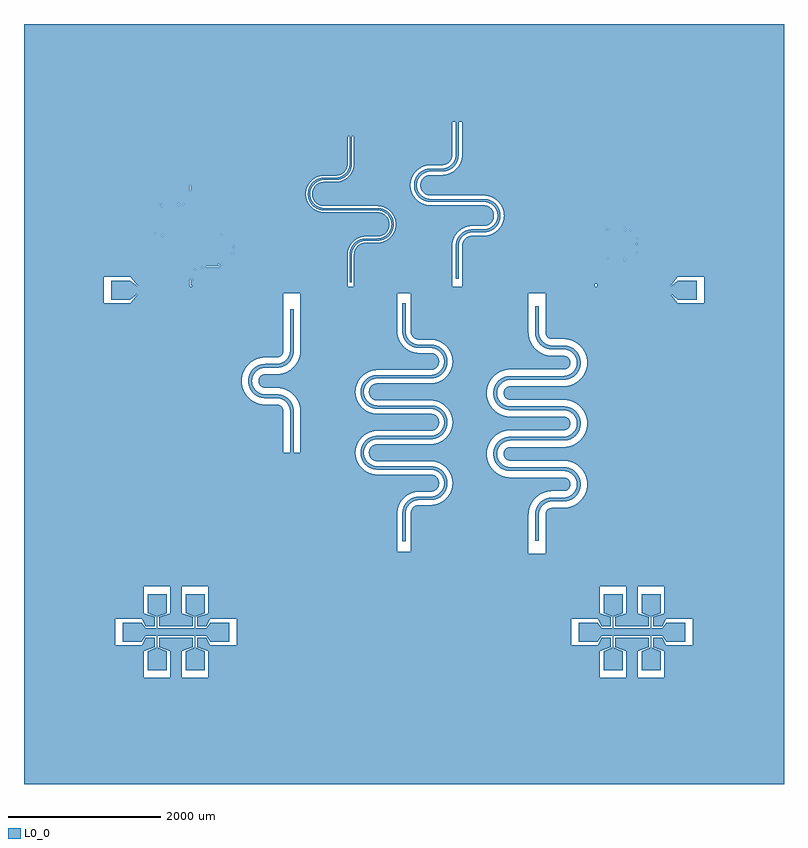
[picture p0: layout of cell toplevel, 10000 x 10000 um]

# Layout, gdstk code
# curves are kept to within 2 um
import gdstk
lib = gdstk.Library(unit=1e-6, precision=1e-09)
def R(c, l, rs):  # rectangles x0, y0, x1, y1
    for r in rs: c.add(gdstk.rectangle(r[:2], r[2:], *l))
def P(c, l, *ps):  # polygons
    for p in ps: c.add(gdstk.Polygon(p, *l))
L0_0 = (0, 0)

toplevel = lib.new_cell('toplevel')
R(toplevel, L0_0, [(-658,1550,634,1940.51), (-714,1605,-686,1940.51), (682,1645,718,1940.51)])
P(toplevel, L0_0, [(-3125,-3250),(-3245,-3200),(-3245,-3050),(-2755,-3050),(-2755,-3200),(-2875,-3250),(-2875,-3500),(-2625,-3500),(-2625,-3250),(-2745,-3200),(-2745,-3050),(-2600,-3050),(-2550,-3125),(-2300,-3125),(-2300,-2875),(-2550,-2875),(-2600,-2950),(-2745,-2950),(-2745,-2800),(-2625,-2750),(-2625,-2500),(-2875,-2500),(-2875,-2750),(-2755,-2800),(-2755,-2950),(-3245,-2950),(-3245,-2800),(-3125,-2750),(-3125,-2500),(-3375,-2500),(-3375,-2750),(-3255,-2800),(-3255,-2950),(-3400,-2950),(-3450,-2875),(-3700,-2875),(-3700,-3125),(-3450,-3125),(-3400,-3050),(-3255,-3050),(-3255,-3200),(-3375,-3250),(-3375,-3500),(-3125,-3500)],
  [(-3500,1460),(3500,1460),(3600,1375),(3850,1375),(3850,1625),(3600,1625),(3500,1540),(-3500,1540),(-3600,1625),(-3850,1625),(-3850,1375),(-3600,1375)],
  [(3255,-2950),(3255,-2800),(3375,-2750),(3375,-2500),(3125,-2500),(3125,-2750),(3245,-2800),(3245,-2950),(2755,-2950),(2755,-2800),(2875,-2750),(2875,-2500),(2625,-2500),(2625,-2750),(2745,-2800),(2745,-2950),(2600,-2950),(2550,-2875),(2300,-2875),(2300,-3125),(2550,-3125),(2600,-3050),(2745,-3050),(2745,-3200),(2625,-3250),(2625,-3500),(2875,-3500),(2875,-3250),(2755,-3200),(2755,-3050),(3245,-3050),(3245,-3200),(3125,-3250),(3125,-3500),(3375,-3500),(3375,-3250),(3255,-3200),(3255,-3050),(3400,-3050),(3450,-3125),(3700,-3125),(3700,-2875),(3450,-2875),(3400,-2950)],
  [(5000,-528.459),(2252.108,-528.459),(2219.713,-544.171),(2186.232,-555.898),(2151.637,-563.749),(2116.374,-567.621),(1399.23,-568.055),(1363.412,-576.018),(1341.557,-590.261),(1324.838,-610.285),(1314.917,-633.585),(1312.069,-659.515),(1316.948,-685.141),(1328.672,-707.588),(1346.915,-726.234),(1369.822,-738.713),(1399.23,-744.046),(2105.46,-744.097),(2162.374,-750.348),(2201.85,-761.142),(2237.127,-775.799),(2270.347,-794.657),(2303.095,-819.202),(2332.348,-847.823),(2357.604,-880.025),(2377.185,-912.826),(2393.547,-950.338),(2405.973,-995.015),(2411.64,-1041.04),(2410.422,-1087.396),(2402.348,-1133.06),(2387.594,-1177.023),(2366.487,-1218.313),(2339.494,-1256.019),(2307.209,-1289.308),(2279.391,-1311.322),(2249.254,-1330.036),(2186.232,-1355.898),(2151.637,-1363.749),(2116.374,-1367.621),(1933.875,-1369.542),(1915.434,-1375.124),(1898.026,-1385.04),(1883.311,-1398.636),(1872.053,-1415.208),(1864.835,-1433.897),(1862.015,-1454.506),(1862,-1972.101),(1638,-1972.101),(1638.107,-1447.838),(1642.792,-1401.572),(1653.439,-1359.116),(1678.891,-1301.633),(1717.164,-1248.368),(1763.523,-1205.908),(1819.937,-1172.451),(1863.533,-1156.27),(1909.049,-1146.748),(1944.524,-1144.097),(2106.156,-1143.834),(2127.997,-1139.477),(2148.046,-1129.776),(2171.328,-1107.588),(2185.083,-1078.516),(2187.473,-1046.444),(2178.179,-1015.654),(2166.045,-997.896),(2149.329,-983.177),(2129.453,-973.127),(2107.691,-968.388),(1389.081,-967.86),(1326.966,-959.383),(1270.277,-939.805),(1218.382,-909.742),(1173.197,-870.306),(1136.393,-822.952),(1108.348,-766.884),(1092.53,-709.033),(1088.145,-646.496),(1095.735,-587.004),(1115.283,-528.459),(-353.885,-530.119),(-378.807,-533.854),(-402.244,-543.115),(-422.989,-557.424),(-439.971,-576.043),(-452.689,-598.91),(-459.548,-623.159),(-460.692,-649.299),(-455.686,-674.981),(-444.807,-698.778),(-428.66,-719.367),(-408.142,-735.604),(-385.315,-746.282),(-351.943,-752.033),(352.529,-752.061),(402.811,-756.916),(439.547,-766.272),(472.455,-779.275),(505.665,-797.555),(534.255,-818.404),(561.812,-844.436),(584.252,-871.794),(604.39,-903.911),(619.243,-936.027),(632.384,-979.563),(638.379,-1022.096),(637.782,-1067.568),(630.673,-1109.929),(617.364,-1150.77),(596.842,-1191.351),(570.209,-1228.212),(540.036,-1258.784),(512.003,-1280.376),(479.285,-1299.521),(444.342,-1314.219),(407.776,-1324.217),(362.641,-1329.775),(197.078,-1330.09),(168.303,-1334.673),(147.622,-1343.187),(129.066,-1355.673),(113.391,-1371.626),(101.68,-1389.533),(92.576,-1413.107),(89.039,-1438.129),(89,-1942.101),(-89,-1942.101),(-88.901,-1433.443),(-83.632,-1385.602),(-70.496,-1339.299),(-44.608,-1287.139),(-8.788,-1241.228),(35.508,-1203.429),(86.482,-1175.278),(129.702,-1160.73),(174.672,-1153.162),(364.528,-1151.095),(388.976,-1144.981),(411.415,-1133.511),(439.971,-1106.058),(457.069,-1070.326),(460.531,-1030.866),(449.489,-991.83),(433.945,-968.428),(413.024,-949.679),(388.065,-936.782),(360.668,-930.565),(-357.586,-929.952),(-412.723,-923.163),(-465.541,-905.95),(-514.091,-878.949),(-556.578,-843.157),(-592.812,-797.779),(-618.313,-748.426),(-633.901,-695.104),(-638.976,-637.257),(-632.911,-582.036),(-616.165,-528.459),(-1363.001,-528.459),(-1363.001,-644.367),(-1451.001,-644.367),(-1451.001,-528.459),(-1499.001,-528.459),(-1499.001,-644.367),(-1587.001,-644.367),(-1587.001,-528.459),(-5000,-528.459),(-5000,-3175),(-3800,-3175),(-3800,-2825),(-3450,-2825),(-3400,-2925),(-3280,-2925),(-3280,-2800),(-3425,-2750),(-3425,-2400),(-3075,-2400),(-3075,-2750),(-3220,-2800),(-3220,-2925),(-2780,-2925),(-2780,-2800),(-2925,-2750),(-2925,-2400),(-2575,-2400),(-2575,-2750),(-2720,-2800),(-2720,-2925),(-2600,-2925),(-2550,-2825),(-2200,-2825),(-2200,-3175),(2200,-3175),(2200,-2825),(2550,-2825),(2600,-2925),(2720,-2925),(2720,-2800),(2575,-2750),(2575,-2400),(2925,-2400),(2925,-2750),(2780,-2800),(2780,-2925),(3220,-2925),(3220,-2800),(3075,-2750),(3075,-2400),(3425,-2400),(3425,-2750),(3280,-2800),(3280,-2925),(3400,-2925),(3450,-2825),(3800,-2825),(3800,-3175),(3450,-3175),(3400,-3075),(3280,-3075),(3280,-3200),(3425,-3250),(3425,-3600),(3075,-3600),(3075,-3250),(3220,-3200),(3220,-3075),(2780,-3075),(2780,-3200),(2925,-3250),(2925,-3600),(2575,-3600),(2575,-3250),(2720,-3200),(2720,-3075),(2600,-3075),(2550,-3175),(-2550,-3175),(-2600,-3075),(-2720,-3075),(-2720,-3200),(-2575,-3250),(-2575,-3600),(-2925,-3600),(-2925,-3250),(-2780,-3200),(-2780,-3075),(-3220,-3075),(-3220,-3200),(-3075,-3250),(-3075,-3600),(-3425,-3600),(-3425,-3250),(-3280,-3200),(-3280,-3075),(-3400,-3075),(-3450,-3175),(-5000,-3175),(-5000,-5000),(5000,-5000)],
  [(-1587.001,-97.929),(-1591.12,-71.078),(-1603.537,-46.335),(-1623.027,-26.673),(-1647.661,-14.039),(-1672.684,-9.715),(-1863.13,-7.346),(-1919.075,4.836),(-1971.851,27.036),(-2017.542,56.812),(-2057.349,94.089),(-2090.058,137.728),(-2114.435,185.82),(-5000,185.82),(-5000,-528.459),(-1587.001,-528.459)],
  [(-1451.001,-97.631),(-1452.938,-68.283),(-1459.238,-37.496),(-1469.784,-7.893),(-1484.37,19.942),(-1501.457,43.945),(-1522.985,66.838),(-1547.506,86.493),(-1574.535,102.523),(-1612.922,117.543),(-1653.412,125.274),(-1828.081,126.344),(-1857.163,129.28),(-1885.357,136.989),(-1911.887,149.259),(-1936.02,165.749),(-1956.926,185.82),(-2016.325,185.82),(-1994.406,155.762),(-1967.814,129.746),(-1937.284,108.49),(-1903.657,92.58),(-1871.701,83.238),(-1840.67,78.865),(-1670.368,78.255),(-1635.192,73.755),(-1604.452,63.558),(-1577.381,48.762),(-1553.31,29.467),(-1532.071,5.016),(-1509.208,-38.618),(-1499.333,-86.879),(-1499.001,-528.459),(-1451.001,-528.459)],
  [(-615.402,-526.669),(-599.435,-495.092),(-579.728,-465.704),(-556.578,-438.943),(-530.33,-415.213),(-501.38,-394.868),(-467.855,-377.172),(-434.724,-364.747),(-400.323,-356.465),(-352.529,-352.061),(351.943,-352.033),(388.065,-345.318),(413.821,-331.867),(435.823,-311.444),(451.151,-286.759),(459.7,-257.983),(460.336,-228.933),(453.053,-199.81),(438.234,-173.703),(417.732,-153.112),(388.065,-136.782),(354.855,-130.157),(-355.058,-130.007),(-397.83,-126.066),(-439.547,-115.828),(-483.788,-97.219),(-526.35,-70.009),(-561.812,-37.665),(-591.431,0.102),(-614.391,42.25),(-630.673,90.07),(-638.202,137.473),(-637.748,185.82),(-1544.733,185.82),(-1513.501,169.267),(-1484.163,149.148),(-1435.019,101.699),(-1413.883,73.086),(-1396.141,42.252),(-1372.371,-21.79),(-1365.699,-56.733),(-1363.048,-92.208),(-1363.001,-528.459)],
  [(1115.68,-527.57),(1133.513,-493.788),(1155.34,-462.437),(1178.9,-435.915),(1207.459,-410.545),(1238.905,-388.856),(1272.765,-371.171),(1308.533,-357.758),(1342.986,-349.303),(1397.27,-344.061),(2100.77,-344.046),(2128.726,-339.228),(2151.849,-327.152),(2170.415,-308.828),(2182.794,-285.866),(2187.897,-260.284),(2185.276,-234.33),(2175.162,-210.285),(2158.443,-190.261),(2136.588,-176.018),(2100.77,-168.055),(1391.81,-167.944),(1342.986,-162.798),(1298.15,-150.959),(1250.746,-130.036),(1205.318,-99.861),(1167.651,-64.278),(1134.943,-20.639),(1111.358,25.498),(1095.142,77.568),(1088.241,131.666),(1090.822,185.82),(-457.696,185.82),(-460.871,164.29),(-459.7,142.017),(-454.101,120.428),(-444.298,100.395),(-430.688,82.725),(-413.821,68.133),(-394.377,57.207),(-373.141,50.389),(-350.971,47.955),(372.738,47.055),(417.65,39.921),(460.888,25.83),(501.38,5.132),(538.123,-21.662),(568.563,-51.969),(592.812,-84.321),(613.36,-122.042),(627.391,-159.96),(636.346,-201.97),(638.976,-244.844),(635.619,-285.136),(625.93,-326.983),(611.237,-364.65),(590.032,-402.005),(563.524,-435.804),(532.3,-465.301),(499.22,-488.548),(460.888,-507.931),(422.557,-520.795),(380.293,-528.459)],
  [(5000,185.82),(1322.601,185.82),(1314.537,164.923),(1312.009,142.794),(1318.017,111.971),(1333.955,85.795),(1357.903,66.673),(1386.957,56.923),(2121.825,55.186),(2165.047,49.095),(2206.996,37.031),(2244.436,20.505),(2281.618,-2.359),(2311.26,-26.455),(2339.494,-56.082),(2362.136,-86.848),(2380.849,-120.151),(2395.352,-155.492),(2405.973,-195.015),(2411.329,-235.588),(2411.496,-273.788),(2406.994,-311.722),(2397.89,-348.822),(2384.32,-384.53),(2365.057,-420.639),(2341.234,-453.916),(2315.245,-481.913),(2286.03,-506.525),(2252.108,-528.459),(5000,-528.459)],
  [(-2114.668,186.396),(-2129.266,233.27),(-2136.139,279.13),(-2136.139,325.503),(-2129.266,371.363),(-2115.671,415.698),(-2095.656,457.528),(-2069.661,495.93),(-2036.261,531.912),(-2008.832,554.409),(-1979.027,573.648),(-1944.714,590.437),(-1911.233,602.164),(-1876.638,610.015),(-1841.375,613.888),(-1660.397,615.538),(-1626.192,629.094),(-1600.52,655.452),(-5000,655.452),(-5000,185.82)],
  [(-1957.092,186.007),(-1976.905,213.429),(-1991.106,244.136),(-1999.169,276.992),(-2000.797,310.784),(-1995.929,344.264),(-1984.745,376.193),(-1967.659,405.392),(-1945.301,430.783),(-1905.109,459.028),(-1857.163,475.353),(-1828.081,478.289),(-1655.369,479.178),(-1616.709,486.034),(-1581.623,498.707),(-1537.989,525.105),(-1500.221,562.216),(-1473.062,605.379),(-1455.958,655.452),(-1505.357,655.452),(-1521.31,616.555),(-1545.734,582.876),(-1577.381,555.871),(-1614.483,537.048),(-1664.196,526.649),(-1830.881,526.24),(-1867.86,522.178),(-1898.124,514.045),(-1926.957,501.768),(-1953.794,485.588),(-1978.111,465.82),(-2011.046,427.07),(-2033.687,383.718),(-2046.38,336.486),(-2048.382,285.67),(-2038.279,233.843),(-2016.325,185.82)],
  [(-637.539,187.984),(-630.059,230.282),(-615.402,273.331),(-595.518,311.405),(-568.563,348.031),(-538.123,378.338),(-501.38,405.132),(-463.219,424.85),(-422.557,438.694),(-387.827,445.464),(-352.529,447.939),(352.914,447.989),(375.038,450.811),(395.266,457.6),(421.514,474.058),(441.647,496.326),(455.076,523.174),(460.871,553.609),(458.028,584.46),(447.241,612.475),(429.342,636.575),(404.846,655.452),(-1366.542,655.452),(-1383.952,589.909),(-1413.883,531.548),(-1455.353,480.733),(-1508.841,438.242),(-1567.719,409.34),(-1628.628,393.781),(-1669.525,390.363),(-1828.081,390.261),(-1851.534,386.22),(-1874.966,374.755),(-1893.526,357.526),(-1906.701,335.012),(-1912.629,310.391),(-1910.464,281.343),(-1898.936,254.594),(-1878.698,232.6),(-1852.998,218.89),(-1828.081,214.371),(-1642.206,212.589),(-1591.168,202.844),(-1544.733,185.82),(-637.748,185.82)],
  [(1090.865,186.14),(1099.046,226.239),(1112.406,264.922),(1130.714,301.524),(1155.34,337.563),(1182.786,367.92),(1213.97,394.424),(1248.354,416.618),(1285.348,434.121),(1337.626,449.652),(1391.81,455.843),(2116.837,457.576),(2139.366,465.247),(2159.016,478.674),(2174.349,496.875),(2184.245,518.52),(2187.958,541.255),(2185.463,564.923),(2176.718,587.057),(2162.361,606.038),(2140.054,622.305),(2113.043,630.976),(1922.656,633.149),(1876.765,640.665),(1831.207,655.452),(622.41,655.452),(635.619,603.035),(638.865,550.099),(632.384,497.462),(615.402,444.568),(590.032,397.995),(554.801,355.043),(512.003,319.624),(465.541,294.05),(412.723,276.837),(357.586,270.048),(-362.6,269.231),(-395.266,260.3),(-422.989,242.576),(-444.807,216.677),(-457.696,185.82)],
  [(5000,655.452),(2391.394,655.452),(2406.994,599.621),(2411.974,539.854),(2405.427,480.239),(2387.594,422.977),(2359.135,370.186),(2321.243,323.959),(2277.15,287.118),(2224.737,257.968),(2170.377,239.989),(2110.919,232.14),(1393.076,231.676),(1371.273,227.128),(1351.954,217.675),(1334.983,203.251),(1322.601,185.82),(5000,185.82)],
  [(-3600,1675),(-3500,1550),(-2817,1550),(-2815.99,1639.44),(-2803.768,1693.141),(-2791.321,1720.923),(-2773.977,1748.222),(-2752.768,1772.639),(-2728.165,1793.633),(-2683.482,1818.825),(-2632.252,1833.115),(-2440.396,1835.778),(-2391.777,1845.034),(-2358.269,1860.176),(-2328.464,1881.711),(-2303.566,1908.77),(-2284.464,1940.51),(-5000,1940.51),(-5000,655.452),(-1600.52,655.452),(-1596.349,662.848),(-1589.461,681.661),(-1587.005,701.544),(-1587.001,1450),(-3500,1450),(-3600,1325),(-3950,1325),(-3950,1675)],
  [(-2791,1618.505),(-2784.848,1666.609),(-2765.967,1713.056),(-2736.823,1751.793),(-2698.867,1781.946),(-2662.518,1799.004),(-2623.406,1808.085),(-2439.031,1809.813),(-2410.011,1813.386),(-2380.048,1821.579),(-2340.525,1840.491),(-2305.814,1867.226),(-2277.439,1900.611),(-2256.108,1940.51),(-2275.662,1940.51),(-2296.168,1905.314),(-2323.151,1875.73),(-2355.709,1852.422),(-2392.41,1836.414),(-2441.646,1827.708),(-2625.612,1825.95),(-2668.41,1816.012),(-2708.184,1797.347),(-2733.56,1779.282),(-2755.97,1757.645),(-2774.915,1732.918),(-2789.974,1705.65),(-2803.991,1664.01),(-2808.992,1620.359),(-2809,1560),(-2791,1560)],
  [(-742,1940.51),(-2247.511,1940.51),(-2268.718,1899.252),(-2297.568,1864.079),(-2333.117,1835.694),(-2373.802,1815.343),(-2404.759,1806.293),(-2436.716,1801.932),(-2627.199,1799.492),(-2670.402,1787.441),(-2708.084,1766.197),(-2728.831,1748.492),(-2747.207,1727.238),(-2762.096,1703.46),(-2772.919,1678.425),(-2782.429,1632.963),(-2783,1550),(-742,1550)],
  [(2508.001,1702.721),(2510.136,1733.052),(2515.981,1760.99),(2525.442,1787.92),(2539.334,1815.008),(2555.683,1838.406),(2576.343,1860.765),(2599.929,1880.014),(2624.286,1894.896),(2659.395,1909.529),(2696.519,1917.806),(2890.995,1920.384),(2927.116,1927.261),(2959.786,1940.51),(766,1940.51),(766,1550),(2508.001,1550)],
  [(2534.001,1702.664),(2535.881,1729.413),(2541.482,1755.617),(2550.017,1779.246),(2562.454,1802.98),(2577.024,1823.447),(2595.381,1842.967),(2616.288,1859.727),(2639.336,1873.395),(2672.068,1886.202),(2708.261,1892.948),(2878.659,1893.715),(2913.193,1897.203),(2961.898,1912.605),(3006.837,1940.51),(2975.897,1940.51),(2938.929,1922.7),(2900,1913.327),(2706.684,1910.879),(2668.844,1903.998),(2631.263,1889.483),(2595.718,1866.9),(2566.613,1839.045),(2542.493,1804.525),(2525.782,1765.871),(2516.29,1713.683),(2516.001,1580),(2534.001,1580)],
  [(5000,1940.51),(3019.183,1940.51),(2970.374,1907.765),(2914.655,1889.337),(2878.799,1885.717),(2715.37,1885.43),(2668.146,1876.627),(2631.653,1860.085),(2599.635,1835.997),(2573.627,1805.518),(2554.29,1768.614),(2546.045,1740.941),(2542.255,1712.314),(2542.001,1550),(3500,1550),(3600,1675),(3950,1675),(3950,1325),(3600,1325),(3500,1450),(1862,1450),(1862.004,943.177),(1866.356,916.61),(1875.933,896.433),(1890.28,879.317),(1908.475,866.364),(1928.595,858.594),(1947.684,855.981),(2135.418,853.934),(2188.853,843.031),(2239.574,822.99),(2288.215,792.786),(2330.517,754.203),(2365.057,708.538),(2391.394,655.452),(5000,655.452)],
  [(1829.97,655.961),(1797.968,671.496),(1765.725,692.181),(1736.261,716.661),(1711.777,742.468),(1688.882,773.18),(1671.14,804.014),(1657.023,836.667),(1646.716,870.715),(1638.047,938.474),(1638,1450),(89,1450),(89.616,947.282),(96.108,919.869),(109.857,894.18),(129.066,873.572),(153.728,858.055),(194.158,848.104),(380.293,846.358),(422.557,838.694),(465.541,823.849),(518.23,793.94),(561.812,755.564),(596.842,709.251),(622.41,655.452)],
  [(404.797,655.48),(383.468,664.783),(360.668,669.435),(182.258,670.494),(144.552,675.318),(107.804,685.049),(61.395,705.355),(19.245,733.452),(-17.352,768.477),(-45.949,807.191),(-61.625,836.174),(-74.699,869.161),(-83.632,903.501),(-88.289,938.677),(-89,1450),(-1363.001,1450),(-1363.012,699.579),(-1366.542,655.452)],
  [(-1455.95,655.488),(-1451.009,700.351),(-1451.001,1250),(-1499.001,1250),(-1499.008,700.772),(-1505.357,655.452)],
  [(-2283.902,1941.711),(-2270.536,1982.726),(-2267.212,2027.33),(-2274.352,2069.873),(-2291.251,2109.562),(-2316.972,2144.194),(-2350.085,2171.842),(-2388.75,2190.97),(-2430.818,2200.517),(-3157.594,2201.658),(-3208.148,2209.461),(-3256.566,2229.496),(-5000,2229.496),(-5000,1940.51)],
  [(-2255.961,1940.873),(-2244.035,1983.033),(-2241.162,2026.753),(-2247.466,2070.112),(-2261.868,2109.56),(-2284.981,2146.782),(-2315.346,2178.367),(-2351.629,2202.928),(-2390.48,2218.871),(-2419.022,2225.217),(-2448.171,2227.517),(-3149.98,2227.525),(-3239.154,2229.496),(-3198.923,2215.332),(-3157.314,2209.653),(-2448.329,2209.518),(-2421.69,2207.416),(-2395.606,2201.616),(-2360.102,2187.046),(-2329.519,2166.732),(-2302.322,2139.654),(-2281.874,2109.16),(-2265.763,2068.901),(-2259.148,2026.045),(-2262.371,1982.801),(-2275.662,1940.51)],
  [(-742,1963.617),(-739.907,1995.288),(-733.663,2026.501),(-723.375,2056.625),(-709.224,2085.138),(-690.146,2113.221),(-668.853,2136.883),(-644.639,2157.545),(-617.922,2174.851),(-579.211,2192.195),(-538.067,2202.513),(-504.247,2205.488),(-334.814,2206.257),(-299.731,2213.736),(-266.335,2229.496),(-2399.204,2229.496),(-2356.336,2214.27),(-2316.086,2189.277),(-2283.43,2157.606),(-2258.094,2119.823),(-2240.683,2075.758),(-2233.351,2030.862),(-2235.539,1985.423),(-2247.511,1940.51),(-742,1940.51)],
  [(-686,1963.494),(-679.16,2013.502),(-659.143,2059.804),(-627.421,2099.024),(-586.327,2128.278),(-553.114,2141.78),(-517.927,2148.659),(-342.511,2149.656),(-298.087,2155.917),(-264.443,2167.372),(-234.733,2183.221),(-206.482,2204.785),(-183.171,2229.496),(-221.037,2229.496),(-241.728,2212.286),(-265.34,2197.909),(-316.011,2180.657),(-346.745,2177.554),(-520.625,2176.529),(-561.109,2168.615),(-599.323,2153.08),(-627.904,2135.097),(-654.604,2111.49),(-677.016,2083.78),(-694.519,2052.735),(-710.713,2000.891),(-714,1940.51),(-686,1940.51)],
  [(634,2078.67),(636.954,2118.061),(645.775,2156.793),(660.197,2193.638),(680.995,2229.496),(-148.507,2229.496),(-174.083,2197.34),(-205.708,2169.247),(-241.741,2147.09),(-281.082,2131.546),(-339.415,2121.756),(-516.607,2120.65),(-549.088,2113.706),(-578.198,2100.817),(-615.101,2071.764),(-641.217,2034.389),(-655.572,1991.113),(-658,1940.51),(634,1940.51)],
  [(718,2078.486),(723.467,2122.796),(739.538,2164.407),(765.248,2200.86),(798.358,2229.496),(742.738,2229.496),(710.572,2186.419),(690.017,2137.101),(682.21,2088.087),(682,1940.51),(718,1940.51)],
  [(2961.134,1941.221),(2995.335,1964.811),(3023.333,1995.508),(3044.3,2033.208),(3055.608,2073.186),(3057.607,2114.686),(3049.724,2157.097),(3032.947,2195.106),(3006.938,2229.496),(1143.492,2229.496),(1110.001,2219.38),(1073.248,2213.542),(894.122,2212.396),(852.822,2203.945),(819.911,2185.957),(792.568,2158.614),(774.171,2124.601),(766.331,2087.925),(766,1940.51)],
  [(3008.251,1941.669),(3036.596,1970.139),(3058.971,2003.507),(3074.548,2040.539),(3082.752,2079.867),(3083.279,2120.038),(3076.111,2159.569),(3061.511,2196.997),(3041.132,2229.496),(3017.825,2229.496),(3041.515,2196.247),(3057.362,2159.476),(3065.195,2120.209),(3064.67,2080.172),(3055.263,2039.544),(3036.375,2000.51),(3009.169,1966.743),(2975.897,1940.51)],
  [(5000,2229.496),(3051.089,2229.496),(3071.154,2195.49),(3084.81,2158.083),(3091.401,2118.81),(3090.704,2078.994),(3082.743,2039.976),(3067.786,2003.069),(3046.337,1969.518),(3019.183,1940.51),(5000,1940.51)],
  [(-3257.127,2229.811),(-3285.403,2248.952),(-3311.601,2273.7),(-3333.341,2302.443),(-3350.025,2334.388),(-3361.191,2368.653),(-3366.533,2404.293),(-3365.902,2440.326),(-3359.519,2475.003),(-5000,2475.003),(-5000,2229.496)],
  [(-3178.31,2229.635),(-3215.5,2239.108),(-3250.046,2255.824),(-3280.553,2279.109),(-3305.789,2308.023),(-3326.7,2346.012),(-3338.502,2387.739),(-3340.589,2431.052),(-3332.458,2475.003),(-3351.223,2475.003),(-3358.758,2428.581),(-3355.964,2383.033),(-3342.651,2337.49),(-3320.471,2297.609),(-3304.417,2277.683),(-3284.654,2258.683),(-3264.111,2243.426),(-3240.211,2229.996)],
  [(-266.065,2229.664),(-238.033,2252.047),(-215.773,2280.176),(-200.883,2311.295),(-192.945,2346.277),(-192.945,2380.774),(-200.883,2415.756),(-215.773,2446.874),(-238.033,2475.003),(-3324.065,2475.003),(-3332.606,2430.527),(-3331.529,2395.367),(-3323.234,2359.544),(-3308.749,2327.488),(-3287.344,2297.589),(-3260.395,2272.573),(-3230.43,2254.148),(-3197.493,2241.796),(-3161.203,2235.869),(-2448.101,2235.517),(-2399.204,2229.496)],
  [(-182.189,2230.727),(-159.88,2265.288),(-145.13,2301.684),(-137.279,2340.163),(-136.592,2379.428),(-146.244,2428.942),(-167.33,2475.003),(-201.109,2475.003),(-183.287,2446.004),(-171.022,2414.15),(-164.941,2382.212),(-164.642,2348.08),(-170.586,2314.468),(-181.869,2283.977),(-199.236,2254.593),(-221.037,2229.496)],
  [(681.29,2229.926),(709.45,2264.124),(742.894,2293.174),(782.787,2317.309),(824.042,2333.45),(886.001,2344.157),(1061.711,2345.039),(1085.907,2349.426),(1108.894,2358.162),(1138.993,2378.345),(1162.583,2405.856),(1177.939,2438.682),(1183.952,2475.003),(-135.207,2475.003),(-122.314,2445.52),(-113.54,2415.013),(-108.835,2383.62),(-108.391,2349.767),(-112.27,2318.262),(-120.24,2287.536),(-132.162,2258.116),(-148.507,2229.496)],
  [(799.052,2229.963),(834.429,2248.303),(871.371,2258.259),(1070.952,2261.534),(1112.083,2269.552),(1150.92,2285.291),(1197.611,2318.103),(1235.2,2363.524),(1248.659,2388.754),(1259.243,2417.357),(1267.97,2475.003),(1231.964,2475.003),(1224.689,2427.458),(1204.616,2382.516),(1174.402,2345.679),(1134.254,2317.202),(1101.831,2304.062),(1067.492,2297.368),(892.349,2296.391),(845.119,2289.504),(816.133,2279.748),(790.448,2266.999),(765.15,2249.813),(742.738,2229.496)],
  [(3006.924,2229.511),(2986.669,2247.664),(2962.544,2263.386),(2937.758,2274.586),(2911.586,2281.989),(2879.805,2285.62),(2705.983,2286.518),(2666.694,2293.663),(2629.38,2307.887),(2584.869,2336.997),(2548.775,2376.06),(2523.267,2422.73),(2509.776,2475.003),(1315.977,2475.003),(1312.137,2433.354),(1302.547,2394.999),(1287.377,2358.49),(1266.964,2324.632),(1241.758,2294.174),(1212.315,2267.788),(1179.287,2246.058),(1143.492,2229.496)],
  [(3040.02,2230.94),(3016.517,2256.482),(2989.112,2277.783),(2958.558,2294.254),(2925.701,2305.441),(2882.315,2311.555),(2708.261,2312.418),(2675.297,2318.264),(2643.859,2329.776),(2609.505,2350.56),(2580.254,2378.066),(2564.239,2399.549),(2551.388,2423.062),(2541.954,2448.142),(2536.019,2475.003),(2517.843,2475.003),(2531.388,2423.975),(2556.349,2379.244),(2591.44,2341.927),(2636.212,2313.481),(2670.613,2300.884),(2706.684,2294.488),(2880.015,2293.618),(2913.185,2289.828),(2942.069,2281.521),(2970.742,2267.955),(2995.482,2250.89),(3017.825,2229.496)],
  [(5000,2475.003),(2544.108,2475.003),(2556.085,2432.282),(2578.284,2393.308),(2608.056,2361.926),(2645.807,2337.707),(2675.83,2326.413),(2708.963,2320.388),(2882.595,2319.551),(2931.318,2312.248),(2965.225,2300.038),(2998.211,2281.313),(3027.433,2257.129),(3051.089,2229.496),(5000,2229.496)],
  [(-3359.317,2475.758),(-3342.785,2518.139),(-3317.781,2556.143),(-3286.882,2586.907),(-3248.77,2611.744),(-3211.798,2626.54),(-3172.746,2634.33),(-2991.973,2635.702),(-2943.145,2644.581),(-2906.652,2661.124),(-2875.809,2684.117),(-2850.454,2713.05),(-2831.296,2747.622),(-5000,2747.622),(-5000,2475.003)],
  [(-3332.361,2475.318),(-3317.326,2510.628),(-3295.536,2542.22),(-3267.869,2568.818),(-3236.935,2588.593),(-3204.394,2601.616),(-3170.02,2608.473),(-2987.17,2609.919),(-2956.307,2614.143),(-2928.135,2622.269),(-2887.146,2642.613),(-2851.568,2671.39),(-2823.104,2707.22),(-2803.396,2747.622),(-2822.65,2747.622),(-2846.869,2704.368),(-2880.539,2669.494),(-2908.397,2650.925),(-2940.659,2636.977),(-2966.65,2630.459),(-2991.622,2627.709),(-3171.907,2626.374),(-3209.52,2618.871),(-3245.128,2604.621),(-3288.803,2574.777),(-3323.586,2534.924),(-3339.697,2506.253),(-3351.223,2475.003)],
  [(-239.013,2475.979),(-261.431,2494.367),(-285.567,2507.79),(-313.015,2517.135),(-340.327,2521.228),(-1052.118,2521.534),(-1110.757,2529.276),(-1144.806,2540.868),(-1178.56,2558.497),(-1209.13,2581.202),(-1235.761,2608.421),(-1257.792,2639.481),(-1274.677,2673.612),(-1286,2709.97),(-1291.477,2747.622),(-2794.911,2747.622),(-2811.441,2711.126),(-2835.55,2676.944),(-2865.769,2648.023),(-2900.975,2625.437),(-2936.211,2611.112),(-2975.298,2602.936),(-3159.604,2601.273),(-3211.25,2590.97),(-3248.569,2572.71),(-3280.808,2546.502),(-3306.304,2513.698),(-3324.065,2475.003)],
  [(-168.198,2476.416),(-198.348,2514.515),(-236.315,2544.831),(-278.374,2565.183),(-325.707,2576.142),(-1051.628,2577.532),(-1095.12,2583.081),(-1140.404,2600.973),(-1180.656,2631.143),(-1201.711,2655.916),(-1218.131,2683.977),(-1229.414,2714.468),(-1235.317,2747.622),(-1263.408,2747.622),(-1258.272,2714.342),(-1247.978,2682.28),(-1232.782,2652.23),(-1213.061,2624.935),(-1189.302,2601.072),(-1162.094,2581.232),(-1133.837,2566.631),(-1101.913,2555.917),(-1051.873,2549.533),(-333.744,2548.813),(-295.472,2541.353),(-259.596,2526.077),(-227.693,2503.658),(-201.109,2475.003)],
  [(1183.967,2475.594),(1177.222,2520.602),(1156.517,2559.827),(1124.141,2590.145),(1083.642,2608.233),(1051.173,2612.519),(349.856,2612.525),(312.877,2615.128),(254.42,2630.29),(200.89,2658.247),(155.045,2697.558),(118.441,2747.622),(-1207.197,2747.622),(-1195.098,2700.992),(-1169.49,2660.152),(-1132.761,2628.935),(-1088.328,2610.245),(-1051.383,2605.532),(-349.908,2605.525),(-316.227,2603.157),(-261.071,2588.594),(-210.857,2561.524),(-168.375,2523.452),(-135.207,2475.003)],
  [(1267.981,2475.664),(1265.449,2511.78),(1256.974,2546.979),(1241.892,2581.973),(1222.125,2612.305),(1197.611,2638.947),(1169.025,2661.165),(1137.156,2678.345),(1102.883,2690.014),(1051.908,2696.517),(338.858,2696.867),(307.397,2701.582),(277.237,2711.704),(249.3,2726.922),(223.557,2747.622),(175.678,2747.622),(206.651,2714.284),(244.043,2688.007),(286.091,2670.103),(329.048,2661.534),(1051.593,2660.518),(1094.15,2655.089),(1141.23,2636.009),(1181.202,2604.66),(1203.77,2575.884),(1219.557,2544.664),(1229.079,2511),(1231.964,2475.003)],
  [(5000,2747.622),(321.367,2747.622),(350.144,2744.525),(1054.655,2744.485),(1087.123,2741.923),(1121.279,2734.798),(1162.71,2719.467),(1199.11,2698.804),(1233.51,2671.088),(1262.849,2638.06),(1286.318,2600.633),(1302.547,2562.051),(1312.888,2519.102),(1315.977,2475.003),(2509.776,2475.003),(2508.001,2624.367),(2516.001,2624.367),(2517.843,2475.003),(2536.019,2475.003),(2534.001,2624.367),(2542.001,2624.367),(2544.108,2475.003),(5000,2475.003)],
  [(5000,5000),(-5000,5000),(-5000,2747.622),(-2831.296,2747.622),(-2818.19,2797.694),(-2817,2876.05),(-2809,2876.05),(-2809.184,2810.147),(-2813.22,2778.595),(-2822.65,2747.622),(-2803.396,2747.622),(-2797.277,2767.687),(-2791.394,2805.695),(-2791,2876.05),(-2783,2876.05),(-2783.075,2812.813),(-2786.333,2780.635),(-2794.911,2747.622),(-1291.477,2747.622),(-1291.479,2779.397),(-1287.325,2810.867),(-1278.395,2843.524),(-1265.959,2872.73),(-1248.606,2901.8),(-1228.798,2926.606),(-1204.29,2949.963),(-1178.56,2968.553),(-1132.99,2990.851),(-1081.675,3003.444),(-895.841,3005.58),(-861.567,3010.271),(-835.398,3019.336),(-810.07,3033.615),(-788.769,3051.314),(-770.884,3072.459),(-750.704,3111.809),(-742.298,3153.826),(-742,3521.05),(-714,3521.05),(-714.007,3161.893),(-716.316,3134.267),(-722.704,3107.291),(-746.145,3059.005),(-766.758,3033.746),(-792.795,3011.528),(-820.982,2995.144),(-851.597,2983.934),(-893.472,2977.64),(-1076.152,2975.921),(-1119.858,2965.802),(-1160.494,2946.793),(-1205.563,2910.482),(-1224.55,2887.334),(-1240.12,2861.762),(-1259.491,2807.224),(-1263.539,2777.56),(-1263.408,2747.622),(-1235.317,2747.622),(-1232.081,2801.507),(-1213.724,2851.788),(-1198.834,2875.08),(-1180.656,2895.907),(-1137.545,2927.634),(-1104.528,2941.353),(-1067.877,2948.664),(-892.49,2949.657),(-846.126,2956.417),(-812.501,2968.231),(-781.303,2985.46),(-752.035,3008.921),(-728.429,3035.622),(-712.217,3060.891),(-699.702,3088.18),(-686.823,3144.77),(-686,3521.05),(-658,3521.05),(-658.083,3157.155),(-661.717,3121.27),(-669.975,3088.339),(-682.761,3056.888),(-699.822,3027.536),(-726.642,2994.672),(-757.069,2968.243),(-791.461,2947.23),(-830.895,2931.601),(-889.385,2921.758),(-1066.561,2920.654),(-1097.64,2914.172),(-1126.794,2901.607),(-1162.938,2874.019),(-1189.728,2837.281),(-1204.947,2794.434),(-1207.197,2747.622),(118.441,2747.622),(99.733,2788.399),(88.268,2831.062),(84.022,2875.034),(87.112,2919.102),(97.453,2962.051),(114.76,3002.696),(138.555,3039.917),(168.182,3072.686),(195.159,3094.814),(226.859,3114.306),(260.969,3129.184),(294.544,3138.681),(343.017,3144.434),(507.052,3144.712),(540.512,3150.797),(564.266,3160.942),(585.632,3175.457),(603.816,3193.801),(618.142,3215.294),(629.383,3243.654),(633.917,3273.823),(634,3711.05),(682,3711.05),(681.888,3272.138),(676.915,3235.805),(664.075,3199.764),(645.916,3169.748),(621.147,3142.704),(592.838,3121.984),(559.572,3106.551),(509.578,3096.778),(346.185,3096.492),(310.163,3092.855),(280.642,3085.198),(252.477,3073.496),(226.222,3057.977),(202.389,3038.947),(175.56,3009.272),(154.605,2975.194),(140.23,2937.86),(132.919,2898.528),(132.919,2858.522),(140.23,2819.19),(154.605,2781.857),(175.678,2747.622),(223.557,2747.622),(198.839,2777.163),(181.028,2810.905),(170.644,2847.619),(168.141,2885.69),(173.631,2923.447),(186.872,2959.23),(207.282,2991.466),(233.964,3018.738),(275.78,3044.704),(321.45,3058.272),(511.473,3060.827),(539.947,3064.216),(569.545,3071.916),(606.227,3088.158),(639.312,3110.846),(667.679,3139.213),(690.368,3172.298),(709.461,3218.109),(717.698,3267.052),(718,3711.05),(766,3711.05),(765.837,3269.19),(760.123,3222.916),(745.529,3176.192),(720.03,3129.049),(687.264,3089.611),(647.539,3057.192),(602.333,3032.997),(562.437,3019.956),(520.986,3013.354),(327.823,3010.677),(289.009,2997.84),(255.041,2973.07),(233.758,2945.186),(220.147,2911.6),(216.012,2876.766),(221.384,2840.927),(236.162,2807.837),(258.408,2780.715),(286.93,2760.296),(320.918,2747.72),(5000,2747.622)],
  [(21,-1441.096),(27.583,-1392.954),(47.666,-1347.055),(79.682,-1308.519),(119.717,-1281.064),(151.904,-1268.633),(184.312,-1262.739),(355.801,-1261.974),(396.075,-1257.194),(425.788,-1248.649),(454.019,-1236.041),(480.213,-1219.616),(505.242,-1198.343),(530.259,-1168.909),(548.934,-1137.312),(562.122,-1103.06),(569.46,-1067.098),(570.744,-1030.418),(565.94,-994.03),(555.18,-958.94),(538.761,-926.114),(507.971,-886.498),(470.662,-855.897),(425.788,-833.452),(377.008,-821.707),(-353.133,-820.023),(-381.169,-817.316),(-408.433,-810.244),(-442.423,-794.344),(-472.351,-771.707),(-496.902,-743.328),(-514.997,-710.454),(-525.841,-674.53),(-528.957,-637.135),(-524.562,-601.437),(-512.467,-565.915),(-488.4,-527.532),(-455.467,-496.421),(-415.778,-474.574),(-371.875,-463.392),(353.868,-462.017),(384.668,-459.315),(412.937,-452.899),(445.39,-440.404),(475.481,-422.972),(503.859,-399.696),(526.841,-373.596),(546.339,-342.501),(559.822,-310.446),(568.11,-276.673),(570.998,-240.267),(528.998,-240.267),(526.659,-269.903),(519.448,-298.742),(507.563,-325.991),(492.288,-349.656),(472.351,-371.707),(450.341,-389.282),(424.424,-403.845),(397.966,-413.504),(351.566,-420.043),(-350.046,-420.05),(-380.842,-422.213),(-434.796,-436.965),(-481.771,-463.631),(-520.874,-500.896),(-550.588,-548.285),(-565.521,-592.143),(-570.947,-636.216),(-567.454,-680.484),(-554.454,-724.953),(-533.553,-764.133),(-503.859,-799.696),(-467.404,-828.287),(-427.602,-847.978),(-392.285,-857.968),(-353.868,-862.017),(368.762,-863.037),(406.95,-871.352),(443.761,-888.571),(474.619,-912.555),(500.391,-943.976),(515.598,-973.093),(525.228,-1004.498),(528.957,-1037.135),(526.4,-1071.448),(517.875,-1103.171),(503.697,-1132.802),(484.342,-1159.343),(460.464,-1181.9),(420.125,-1205.742),(376.531,-1218.073),(188.369,-1220.356),(159.503,-1223.792),(129.498,-1231.598),(92.311,-1248.063),(58.771,-1271.064),(30.013,-1299.821),(7.013,-1333.361),(-12.344,-1379.803),(-20.583,-1427.483),(-21,-1807.101),(21,-1807.101)],
  [(570.998,-240.083),(567.79,-203.521),(559.207,-169.821),(545.443,-137.886),(526.841,-108.504),(503.859,-82.405),(477.068,-60.234),(447.131,-42.539),(414.789,-29.76),(384.668,-22.786),(353.868,-20.084),(-373.429,-18.51),(-418.681,-6.35),(-460.464,18.1),(-494.167,52.851),(-517.325,95.363),(-526.4,128.552),(-528.916,164.431),(-524.208,200.089),(-512.467,234.085),(-494.167,265.048),(-470.046,291.728),(-441.078,313.046),(-409.911,327.625),(-381.169,335.215),(-353.133,337.922),(350.046,337.95),(384.668,340.685),(438.355,356.38),(487.899,386.251),(527.994,427.956),(555.18,476.839),(565.521,510.042),(570.643,546.386),(569.679,583.076),(562.657,619.101),(549.769,653.467),(532.469,683.634),(509.317,712.113),(483.318,735.209),(436.579,762.285),(384.668,777.214),(353.868,779.916),(192.148,780.122),(150.393,786.961),(122.537,797.579),(95.55,813.584),(71.773,834.055),(51.935,858.363),(30.861,900.359),(21.441,946.393),(21,1325),(-21,1325),(-20.456,943.447),(-9.453,888.447),(13.988,839.616),(37.682,808.97),(66.363,782.932),(99.15,762.302),(135.036,747.713),(190.306,738.162),(373.429,736.409),(415.778,725.426),(452.919,705.403),(476.849,685.244),(496.001,662.509),(511.127,636.917),(522.242,607.669),(527.93,578.491),(528.614,547.21),(523.842,516.288),(514.383,488.105),(491.332,449.103),(457.982,416.188),(418.681,393.65),(373.429,381.49),(-353.868,379.916),(-392.285,375.867),(-429.41,365.19),(-467.404,346.186),(-502.465,318.935),(-531.371,285.226),(-552.181,248.19),(-565.521,207.857),(-570.897,165.717),(-567.79,121.42),(-556.586,80.443),(-529.133,29.519),(-489.405,-12.536),(-440.124,-42.839),(-384.668,-59.315),(-350.046,-62.05),(351.566,-62.057),(399.473,-69.023),(427.262,-79.583),(451.634,-93.702),(473.49,-111.469),(493.233,-133.694),(508.3,-157.492),(519.448,-183.358),(526.4,-210.653),(528.998,-240.267)],
  [(1774,-1456.103),(1780.472,-1408.76),(1800.219,-1363.63),(1831.698,-1325.74),(1871.063,-1298.746),(1901.224,-1286.944),(1934.575,-1280.728),(2105.88,-1279.974),(2148.615,-1274.711),(2180.488,-1265.091),(2208.874,-1251.812),(2235.128,-1234.702),(2258.738,-1214.096),(2282.706,-1185.644),(2301.635,-1153.619),(2315.002,-1118.902),(2322.439,-1082.452),(2323.741,-1045.273),(2318.872,-1008.392),(2307.966,-972.825),(2291.324,-939.554),(2260.115,-899.4),(2220.654,-867.321),(2176.817,-845.634),(2127.374,-833.729),(1396.92,-832.023),(1370.871,-829.623),(1344.004,-822.905),(1310.449,-807.564),(1280.828,-785.565),(1256.446,-757.874),(1238.372,-725.708),(1227.401,-690.481),(1224.015,-653.74),(1228.364,-617.101),(1240.256,-582.174),(1263.92,-544.435),(1296.301,-513.845),(1335.325,-492.365),(1378.492,-481.37),(2103.92,-480.016),(2133.201,-477.576),(2163.792,-470.775),(2196.685,-458.11),(2227.185,-440.442),(2254.535,-418.208),(2279.241,-390.396),(2299.004,-358.878),(2312.67,-326.388),(2321.071,-292.156),(2323.998,-255.28),(2275.998,-255.28),(2273.698,-284.419),(2266.608,-312.776),(2255.647,-338.208),(2239.903,-362.836),(2220.3,-384.517),(2197.38,-402.656),(2171.773,-416.751),(2145.676,-426.02),(2101.54,-432.043),(1399.947,-432.05),(1368.739,-434.242),(1314.052,-449.195),(1266.44,-476.223),(1225.57,-515.515),(1196.689,-562.026),(1181.996,-604.569),(1176.053,-651.15),(1179.594,-696.02),(1192.771,-741.092),(1213.955,-780.804),(1244.052,-816.849),(1279.346,-844.78),(1321.344,-865.787),(1359.067,-876.279),(1396.08,-880.016),(2118.448,-881.02),(2157.454,-889.692),(2192.189,-906.127),(2223.631,-930.786),(2247.871,-960.604),(2262.823,-989.232),(2272.291,-1020.111),(2275.958,-1052.2),(2273.698,-1084.419),(2265.59,-1115.683),(2251.121,-1146.264),(2232.091,-1172.36),(2208.612,-1194.54),(2168.95,-1217.982),(2126.086,-1230.106),(1938.211,-1232.361),(1908.954,-1235.843),(1878.541,-1243.754),(1840.849,-1260.443),(1806.854,-1283.756),(1777.706,-1312.904),(1755.358,-1345.187),(1735.327,-1392.085),(1726.422,-1442.299),(1726,-1797.101),(1774,-1797.101)],
  [(2323.998,-255.07),(2320.747,-218.012),(2312.047,-183.855),(2298.096,-151.485),(2279.241,-121.705),(2255.948,-95.251),(2228.793,-72.779),(2198.45,-54.845),(2165.668,-41.892),(2135.138,-34.823),(2103.92,-32.084),(1376.964,-30.536),(1331.05,-17.982),(1291.388,5.46),(1258.25,39.629),(1236.033,79.991),(1226.556,114.062),(1224.042,147.8),(1228.364,182.899),(1239.615,216.425),(1257.342,247.025),(1280.828,273.464),(1309.126,294.674),(1341.093,309.798),(1369.354,317.261),(1396.92,319.922),(2100.052,319.95),(2133.201,322.423),(2187.754,337.854),(2238.234,367.69),(2278.059,408.041),(2307.229,458.908),(2318.004,492.468),(2323.518,529.258),(2322.867,566.454),(2316.578,601.136),(2304.126,636.191),(2286.045,668.703),(2264.172,696.343),(2236.686,721.412),(2187.754,750.045),(2135.138,765.177),(2103.92,767.915),(1942.28,768.119),(1902.71,774.422),(1875.231,784.621),(1848.559,800.124),(1825.004,820.046),(1806.175,842.509),(1784.207,884.884),(1774.434,931.604),(1774,1285),(1726,1285),(1726.698,926.277),(1738.339,870.63),(1762.531,821.346),(1786.818,790.496),(1814.549,765.542),(1847.781,744.632),(1884.154,729.846),(1940.175,720.165),(2123.036,718.435),(2163.24,708.195),(2201.194,687.948),(2224.723,668.128),(2244.44,644.513),(2259.092,619.221),(2269.768,590.369),(2275.109,561.632),(2275.513,530.87),(2270.928,502.003),(2261.013,472.88),(2238.013,434.732),(2204.94,402.657),(2166.105,380.836),(2121.508,369.269),(1396.08,367.915),(1357.141,363.811),(1319.512,352.99),(1279.346,332.679),(1245.465,306.107),(1216.167,271.94),(1195.074,234.402),(1181.128,191.608),(1176.053,148.85),(1179.594,103.98),(1191.314,62.548),(1219.59,11.178),(1258.702,-29.864),(1308.652,-60.578),(1364.862,-77.278),(1399.947,-80.05),(2101.54,-80.057),(2147.162,-86.487),(2173.177,-95.984),(2198.659,-110.303),(2221.42,-128.641),(2239.903,-149.265),(2255.647,-173.892),(2266.608,-199.325),(2273.698,-227.682),(2275.998,-255.28)])

lib.write_gds('toplevel.gds')
